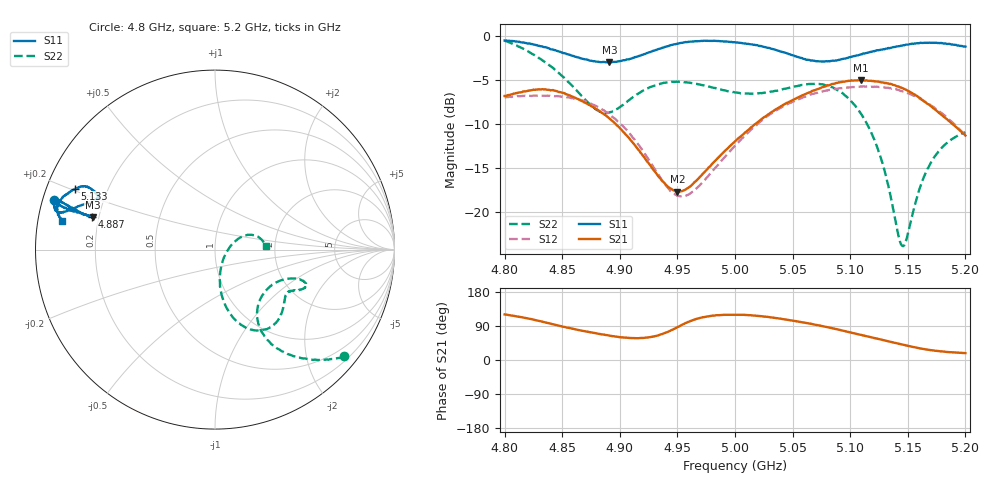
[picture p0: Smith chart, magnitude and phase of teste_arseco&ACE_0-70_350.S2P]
! Network Analyzer HP8722D
! Hewlett-Packard
! Data name: Linha & Wilkinson
! Saver's name: Rodrigo Anjos
! Comments: Teste da utilização de aquisição
! continua pelo VNA HP8722D
! Time and date: 8/5/2025 15:40
!  Frequency  S11  S21  S12  S22
# HZ  S  MA R 50
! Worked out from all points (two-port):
!   401 points, 4.8 GHz to 5.2 GHz, reference 50 ohm
!   highest |S21| = -5.07 dB at 5.109 GHz (marker M1); lowest = -17.7 dB at 4.95 GHz (marker M2)
!   |S21| within 3 dB of the highest: start of sweep to 4.876 GHz; 5.039 GHz to 5.17 GHz (130.9 MHz wide, 2.56 % of centre)
!   lowest |S11| = -3.1 dB at 4.891 GHz (marker M3), VSWR 5.75, Z = 8.84 + j6.29 ohm
!   |S11| at or under -10 dB: nowhere
!   |S22| runs from -23.9 to -0.6 dB; largest |S21 - S12| = 0.73
!   S11 on the Smith chart (normalised r, x): 4.8 GHz: 0.03, +0.15; 4.887 GHz: 0.17, +0.13; 5.133 GHz: 0.08, +0.21; 5.2 GHz: 0.07, +0.09
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4.8e9  0.9374 163.0  0.4541 120.4  0.4445 15.3  0.9345 -39.5
4.833e9  0.8644 164.3  0.4964 101.0  0.4554 4.9  0.7209 -54.4
4.867e9  0.7405 164.9  0.4261 77.3  0.4291 -10.2  0.4535 -58.5
4.887e9  0.7067 165.1  0.3551 66.4  0.3725 -21.5  0.3646 -40.8
4.891e9  0.7036 165.2  0.3378 64.2  0.3579 -23.8  0.3661 -35.9
4.909e9  0.7375 165.0  0.257 58.0  0.276 -32.4  0.4352 -21.9
4.934e9  0.8396 163.7  0.1574 65.6  0.1609 -29.3  0.5292 -19.8
4.95e9  0.8972 162.7  0.1302 86.5  0.1232 -8.0  0.5464 -22.0
4.965e9  0.9269 162.7  0.1477 106.8  0.133 15.7  0.5342 -24.4
5e9  0.9158 166.1  0.2507 119.4  0.2374 37.5  0.4753 -29.2
5.034e9  0.8344 164.4  0.3759 111.2  0.3704 32.1  0.484 -37.1
5.067e9  0.7217 157.6  0.4851 95.0  0.4666 17.1  0.5311 -51.8
5.088e9  0.7231 155.0  0.5384 81.6  0.498 5.1  0.4949 -64.8
5.109e9  0.7814 153.9  0.5581 66.4  0.514 -7.7  0.3633 -76.9
5.123e9  0.8247 154.8  0.5484 56.6  0.513 -16.5  0.2368 -81.9
5.133e9  0.8496 156.5  0.5354 49.5  0.5059 -23.1  0.1414 -78.8
5.134e9  0.8472 156.4  0.5309 48.7  0.5027 -23.8  0.1322 -77.4
5.142e9  0.8695 158.2  0.5139 43.0  0.4912 -29.3  0.0726 -51.9
5.146e9  0.8814 159.4  0.501 40.2  0.4807 -31.7  0.06386 -23.6
5.16e9  0.905 162.5  0.4437 30.9  0.4406 -40.1  0.1341 24.1
5.169e9  0.9112 164.5  0.4023 26.6  0.4062 -44.8  0.1844 25.1
5.2e9  0.8649 169.3  0.2707 18.2  0.2719 -54.1  0.2829 4.3
